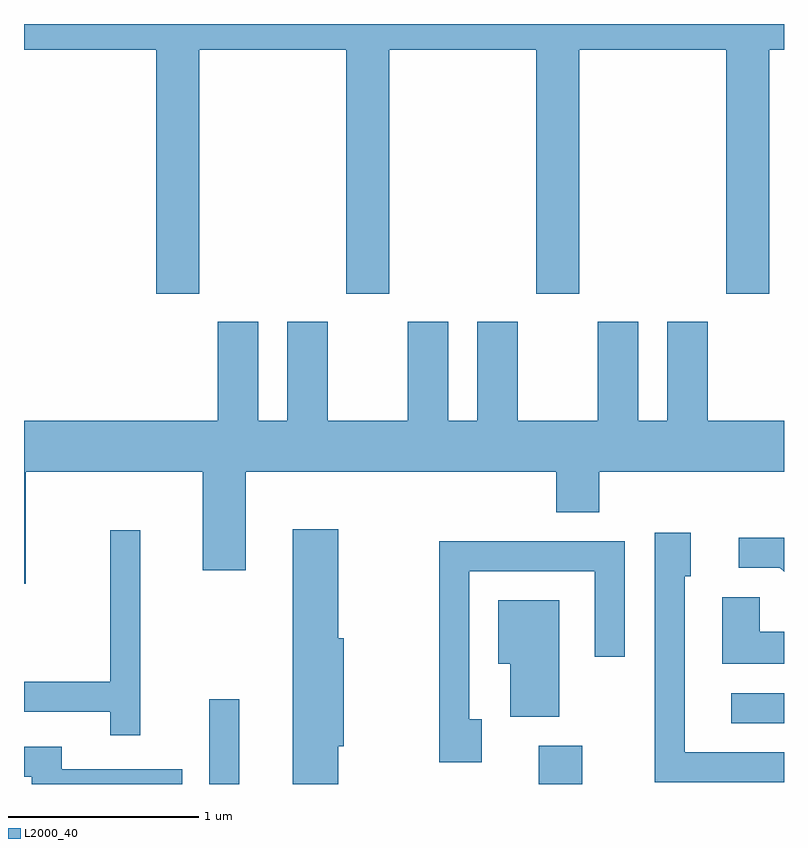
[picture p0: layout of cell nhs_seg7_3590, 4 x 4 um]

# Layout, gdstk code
import gdstk
lib = gdstk.Library(unit=1e-6, precision=1e-09)
def R(c, l, rs):  # rectangles x0, y0, x1, y1
    for r in rs: c.add(gdstk.rectangle(r[:2], r[2:], *l))
def P(c, l, *ps):  # polygons
    for p in ps: c.add(gdstk.Polygon(p, *l))
L2000_40 = (2000, 40)

nhs_seg7_3590 = lib.new_cell('nhs_seg7_3590')
R(nhs_seg7_3590, L2000_40, [(296.586,1688.252,296.744,1688.698), (298.321,1688.252,298.549,1688.454), (299.333,1688.571,299.611,1688.729)])
P(nhs_seg7_3590, L2000_40, [(299.306,1690.831),(299.534,1690.831),(299.534,1692.116),(299.611,1692.116),(299.611,1692.252),(295.611,1692.252),(295.611,1692.116),(296.306,1692.116),(296.306,1690.831),(296.534,1690.831),(296.534,1692.116),(297.306,1692.116),(297.306,1690.831),(297.534,1690.831),(297.534,1692.116),(298.306,1692.116),(298.306,1690.831),(298.534,1690.831),(298.534,1692.116),(299.306,1692.116)],
  [(295.619,1689.896),(296.551,1689.896),(296.551,1689.376),(296.779,1689.376),(296.779,1689.896),(298.411,1689.896),(298.411,1689.681),(298.639,1689.681),(298.639,1689.896),(299.611,1689.896),(299.611,1690.164),(299.209,1690.164),(299.209,1690.684),(298.996,1690.684),(298.996,1690.164),(298.844,1690.164),(298.844,1690.684),(298.631,1690.684),(298.631,1690.164),(298.209,1690.164),(298.209,1690.684),(297.996,1690.684),(297.996,1690.164),(297.844,1690.164),(297.844,1690.684),(297.631,1690.684),(297.631,1690.164),(297.209,1690.164),(297.209,1690.684),(296.996,1690.684),(296.996,1690.164),(296.844,1690.164),(296.844,1690.684),(296.631,1690.684),(296.631,1690.164),(295.611,1690.164),(295.611,1689.306),(295.619,1689.306)],
  [(297.264,1688.451),(297.294,1688.451),(297.294,1689.019),(297.264,1689.019),(297.264,1689.594),(297.026,1689.594),(297.026,1688.252),(297.264,1688.252)],
  [(296.224,1689.588),(296.066,1689.588),(296.066,1688.789),(295.611,1688.789),(295.611,1688.631),(296.066,1688.631),(296.066,1688.508),(296.224,1688.508)],
  [(299.611,1688.419),(299.089,1688.419),(299.089,1689.346),(299.119,1689.346),(299.119,1689.574),(298.931,1689.574),(298.931,1688.261),(299.611,1688.261)],
  [(299.611,1689.549),(299.373,1689.549),(299.373,1689.391),(299.589,1689.391),(299.611,1689.369)],
  [(298.019,1688.594),(297.954,1688.594),(297.954,1689.371),(298.616,1689.371),(298.616,1688.923),(298.774,1688.923),(298.774,1689.529),(297.796,1689.529),(297.796,1688.366),(298.019,1688.366)],
  [(299.611,1689.054),(299.484,1689.054),(299.484,1689.234),(299.286,1689.234),(299.286,1688.886),(299.611,1688.886)],
  [(298.429,1689.219),(298.106,1689.219),(298.106,1688.886),(298.171,1688.886),(298.171,1688.606),(298.429,1688.606)],
  [(296.443,1688.329),(295.809,1688.329),(295.809,1688.449),(295.611,1688.449),(295.611,1688.291),(295.651,1688.291),(295.651,1688.252),(296.443,1688.252)])

lib.write_gds('nhs_seg7_3590.gds')
